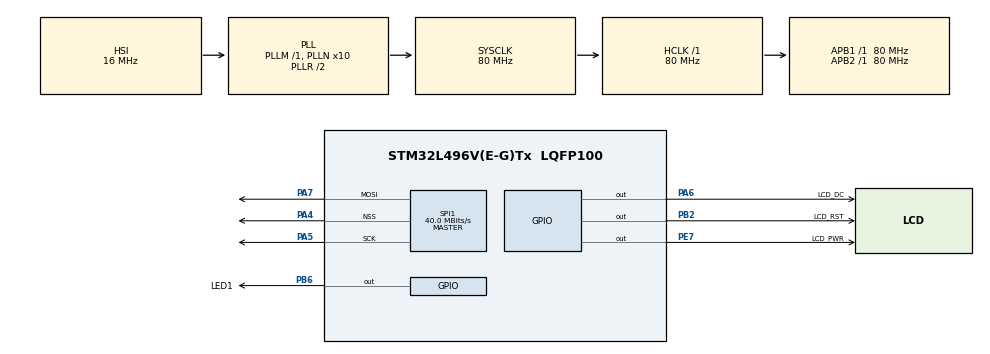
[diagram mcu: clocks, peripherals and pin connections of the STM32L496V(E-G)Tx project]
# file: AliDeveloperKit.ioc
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Dma.Request0=SPI1_TX
Dma.SPI1_TX.0.Direction=DMA_MEMORY_TO_PERIPH
Dma.SPI1_TX.0.Instance=DMA2_Channel4
Dma.SPI1_TX.0.MemDataAlignment=DMA_MDATAALIGN_BYTE
Dma.SPI1_TX.0.MemInc=DMA_MINC_ENABLE
Dma.SPI1_TX.0.Mode=DMA_NORMAL
Dma.SPI1_TX.0.PeriphDataAlignment=DMA_PDATAALIGN_BYTE
Dma.SPI1_TX.0.PeriphInc=DMA_PINC_DISABLE
Dma.SPI1_TX.0.Priority=DMA_PRIORITY_VERY_HIGH
FREERTOS.INCLUDE_eTaskGetState=1
FREERTOS.INCLUDE_uxTaskGetStackHighWaterMark=1
FREERTOS.INCLUDE_vTaskCleanUpResources=1
FREERTOS.INCLUDE_vTaskDelayUntil=1
FREERTOS.INCLUDE_xSemaphoreGetMutexHolder=1
FREERTOS.INCLUDE_xTaskAbortDelay=1
FREERTOS.INCLUDE_xTaskGetHandle=1
FREERTOS.Tasks01=defaultTask,0,200,StartDefaultTask,Default,NULL,Dynamic,NULL,NULL
FREERTOS.configCHECK_FOR_STACK_OVERFLOW=1
FREERTOS.configENABLE_FPU=1
FREERTOS.configGENERATE_RUN_TIME_STATS=1
FREERTOS.configTOTAL_HEAP_SIZE=10000
FREERTOS.configUSE_CO_ROUTINES=1
FREERTOS.configUSE_DAEMON_TASK_STARTUP_HOOK=0
FREERTOS.configUSE_MALLOC_FAILED_HOOK=1
FREERTOS.configUSE_NEWLIB_REENTRANT=1
FREERTOS.configUSE_STATS_FORMATTING_FUNCTIONS=1
FREERTOS.configUSE_TRACE_FACILITY=1
Mcu.Family=STM32L4
Mcu.Name=STM32L496V(E-G)Tx
Mcu.Package=LQFP100
NVIC.DMA2_Channel4_IRQn=true\:0\:0\:false\:false\:true\:false\:false\:true
NVIC.PriorityGroup=NVIC_PRIORITYGROUP_4
NVIC.TIM1_UP_TIM16_IRQn=true\:15\:0\:false\:false\:true\:false\:false\:true
NVIC.TimeBase=TIM1_UP_TIM16_IRQn
NVIC.TimeBaseIP=TIM1
PA13\ (JTMS/SWDIO).Mode=JTAG_4_pins
PA13\ (JTMS/SWDIO).Signal=SYS_JTMS-SWDIO
PA14\ (JTCK/SWCLK).Mode=JTAG_4_pins
PA14\ (JTCK/SWCLK).Signal=SYS_JTCK-SWCLK
PA15\ (JTDI).Mode=JTAG_4_pins
PA15\ (JTDI).Signal=SYS_JTDI
PA4.Mode=NSS_Signal_Hard_Output
PA4.Signal=SPI1_NSS
PA5.Mode=TX_Only_Simplex_Unidirect_Master
PA5.Signal=SPI1_SCK
PA6.GPIO_Label=LCD_DC
PA6.GPIO_Speed=GPIO_SPEED_FREQ_VERY_HIGH
PA6.PinState=GPIO_PIN_SET
PA6.Signal=GPIO_Output
PA7.Mode=TX_Only_Simplex_Unidirect_Master
PA7.Signal=SPI1_MOSI
PB2.GPIO_Label=LCD_RST
PB2.GPIO_Speed=GPIO_SPEED_FREQ_VERY_HIGH
PB2.PinState=GPIO_PIN_SET
PB2.Signal=GPIO_Output
PB3\ (JTDO/TRACESWO).Mode=JTAG_4_pins
PB3\ (JTDO/TRACESWO).Signal=SYS_JTDO-SWO
PB6.GPIO_Label=LED1
PB6.Signal=GPIO_Output
PE7.GPIO_Label=LCD_PWR
PE7.GPIO_Speed=GPIO_SPEED_FREQ_VERY_HIGH
PE7.Signal=GPIO_Output
ProjectManager.HeapSize=0x200
ProjectManager.StackSize=0x400
ProjectManager.TargetToolchain=Makefile
RCC.ADCFreq_Value=64000000
RCC.AHBFreq_Value=80000000
RCC.APB1Freq_Value=80000000
RCC.APB1TimFreq_Value=80000000
RCC.APB2Freq_Value=80000000
RCC.APB2TimFreq_Value=80000000
RCC.CortexFreq_Value=80000000
RCC.HCLKFreq_Value=80000000
RCC.HSE_VALUE=8000000
RCC.HSI48_VALUE=48000000
RCC.HSI_VALUE=16000000
RCC.LSE_VALUE=32768
RCC.MSI_VALUE=4000000
RCC.PLLN=10
RCC.PLLSourceVirtual=RCC_PLLSOURCE_HSI
RCC.SYSCLKFreq_VALUE=80000000
RCC.SYSCLKSource=RCC_SYSCLKSOURCE_PLLCLK
RCC.USBFreq_Value=64000000
RCC.VCOOutputFreq_Value=160000000
SPI1.BaudRatePrescaler=SPI_BAUDRATEPRESCALER_2
SPI1.CLKPolarity=SPI_POLARITY_LOW
SPI1.CRCCalculation=SPI_CRCCALCULATION_DISABLE
SPI1.CalculateBaudRate=40.0 MBits/s
SPI1.DataSize=SPI_DATASIZE_8BIT
SPI1.Direction=SPI_DIRECTION_2LINES
SPI1.Mode=SPI_MODE_MASTER
SPI1.VirtualNSS=VM_NSSHARD
SPI1.VirtualType=VM_MASTER
VP_CRC_VS_CRC.Mode=CRC_Activate
VP_FREERTOS_VS_CMSIS_V1.Mode=CMSIS_V1
VP_SYS_VS_tim1.Mode=TIM1
board=custom

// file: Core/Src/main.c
/* USER CODE BEGIN Header */
/**
  ******************************************************************************
  * @file           : main.c
  * @brief          : Main program body
  ******************************************************************************
  * @attention
  *
  * <h2><center>&copy; Copyright (c) 2021 STMicroelectronics.
  * All rights reserved.</center></h2>
  *
  * This software component is licensed by ST under Ultimate Liberty license
  * SLA0044, the "License"; You may not use this file except in compliance with
  * the License. You may obtain a copy of the License at:
  *                             www.st.com/SLA0044
  *
  ******************************************************************************
  */
/* USER CODE END Header */
#include "main.h"
#include "cmsis_os.h"

/* USER CODE BEGIN Includes */
#include "st7789.h"
#include "GUI.h"
#include "MENU.h"
#include "WindowsCB.h"
#include "PROGBAR.h"
/* USER CODE END Includes */

CRC_HandleTypeDef hcrc;

SPI_HandleTypeDef hspi1;
DMA_HandleTypeDef hdma_spi1_tx;

osThreadId defaultTaskHandle;
/* USER CODE BEGIN PV */
osThreadId OLEDTaskHandle;

/* USER CODE END PV */

void SystemClock_Config(void);
static void MX_GPIO_Init(void);
static void MX_SPI1_Init(void);
static void MX_DMA_Init(void);
static void MX_CRC_Init(void);
void StartDefaultTask(void const * argument);

/* USER CODE BEGIN PFP */
void OLEDDisplayTask(void const *argument);
/* USER CODE END PFP */

int main(void)
{

  /* MCU Configuration--------------------------------------------------------*/

  /* Reset of all peripherals, Initializes the Flash interface and the Systick. */
  HAL_Init();

  /* Configure the system clock */
  SystemClock_Config();

  /* Initialize all configured peripherals */
  MX_GPIO_Init();
  MX_SPI1_Init();
  MX_DMA_Init();
  MX_CRC_Init();
  /* USER CODE BEGIN 2 */
   __HAL_RCC_CRC_CLK_ENABLE();
  st7789_init();
  //BSP_LCD_Clear(GUI_WHITE);

  /* USER CODE END 2 */

  /* Create the thread(s) */
  /* definition and creation of defaultTask */
  osThreadDef(defaultTask, StartDefaultTask, osPriorityNormal, 0, 200);
  defaultTaskHandle = osThreadCreate(osThread(defaultTask), NULL);

  /* USER CODE BEGIN RTOS_THREADS */
  /* add threads, ... */
  osThreadDef(displayTask,OLEDDisplayTask,osPriorityAboveNormal,0,400);
  OLEDTaskHandle=osThreadCreate(osThread(displayTask),NULL);
  /* USER CODE END RTOS_THREADS */

  /* Start scheduler */
  osKernelStart();

  /* We should never get here as control is now taken by the scheduler */
  /* Infinite loop */
  while (1)
  {

  }
}

void SystemClock_Config(void)
{
  RCC_OscInitTypeDef RCC_OscInitStruct = {0};
  RCC_ClkInitTypeDef RCC_ClkInitStruct = {0};

  /** Configure the main internal regulator output voltage
  */
  if (HAL_PWREx_ControlVoltageScaling(PWR_REGULATOR_VOLTAGE_SCALE1) != HAL_OK)
  {
    Error_Handler();
  }
  /** Initializes the RCC Oscillators according to the specified parameters
  * in the RCC_OscInitTypeDef structure.
  */
  RCC_OscInitStruct.OscillatorType = RCC_OSCILLATORTYPE_HSI;
  RCC_OscInitStruct.HSIState = RCC_HSI_ON;
  RCC_OscInitStruct.HSICalibrationValue = RCC_HSICALIBRATION_DEFAULT;
  RCC_OscInitStruct.PLL.PLLState = RCC_PLL_ON;
  RCC_OscInitStruct.PLL.PLLSource = RCC_PLLSOURCE_HSI;
  RCC_OscInitStruct.PLL.PLLM = 1;
  RCC_OscInitStruct.PLL.PLLN = 10;
  RCC_OscInitStruct.PLL.PLLP = RCC_PLLP_DIV2;
  RCC_OscInitStruct.PLL.PLLQ = RCC_PLLQ_DIV2;
  RCC_OscInitStruct.PLL.PLLR = RCC_PLLR_DIV2;
  if (HAL_RCC_OscConfig(&RCC_OscInitStruct) != HAL_OK)
  {
    Error_Handler();
  }
  /** Initializes the CPU, AHB and APB buses clocks
  */
  RCC_ClkInitStruct.ClockType = RCC_CLOCKTYPE_HCLK|RCC_CLOCKTYPE_SYSCLK
                              |RCC_CLOCKTYPE_PCLK1|RCC_CLOCKTYPE_PCLK2;
  RCC_ClkInitStruct.SYSCLKSource = RCC_SYSCLKSOURCE_PLLCLK;
  RCC_ClkInitStruct.AHBCLKDivider = RCC_SYSCLK_DIV1;
  RCC_ClkInitStruct.APB1CLKDivider = RCC_HCLK_DIV1;
  RCC_ClkInitStruct.APB2CLKDivider = RCC_HCLK_DIV1;

  if (HAL_RCC_ClockConfig(&RCC_ClkInitStruct, FLASH_LATENCY_4) != HAL_OK)
  {
    Error_Handler();
  }
}

static void MX_CRC_Init(void)
{

  hcrc.Instance = CRC;
  hcrc.Init.DefaultPolynomialUse = DEFAULT_POLYNOMIAL_ENABLE;
  hcrc.Init.DefaultInitValueUse = DEFAULT_INIT_VALUE_ENABLE;
  hcrc.Init.InputDataInversionMode = CRC_INPUTDATA_INVERSION_NONE;
  hcrc.Init.OutputDataInversionMode = CRC_OUTPUTDATA_INVERSION_DISABLE;
  hcrc.InputDataFormat = CRC_INPUTDATA_FORMAT_BYTES;
  if (HAL_CRC_Init(&hcrc) != HAL_OK)
  {
    Error_Handler();
  }

}

static void MX_SPI1_Init(void)
{

  /* SPI1 parameter configuration*/
  hspi1.Instance = SPI1;
  hspi1.Init.Mode = SPI_MODE_MASTER;
  hspi1.Init.Direction = SPI_DIRECTION_2LINES;
  hspi1.Init.DataSize = SPI_DATASIZE_8BIT;
  hspi1.Init.CLKPolarity = SPI_POLARITY_LOW;
  hspi1.Init.CLKPhase = SPI_PHASE_1EDGE;
  hspi1.Init.NSS = SPI_NSS_HARD_OUTPUT;
  hspi1.Init.BaudRatePrescaler = SPI_BAUDRATEPRESCALER_2;
  hspi1.Init.FirstBit = SPI_FIRSTBIT_MSB;
  hspi1.Init.TIMode = SPI_TIMODE_DISABLE;
  hspi1.Init.CRCCalculation = SPI_CRCCALCULATION_DISABLE;
  hspi1.Init.CRCPolynomial = 7;
  hspi1.Init.CRCLength = SPI_CRC_LENGTH_DATASIZE;
  hspi1.Init.NSSPMode = SPI_NSS_PULSE_ENABLE;
  if (HAL_SPI_Init(&hspi1) != HAL_OK)
  {
    Error_Handler();
  }

}

static void MX_DMA_Init(void)
{

  /* DMA controller clock enable */
  __HAL_RCC_DMA2_CLK_ENABLE();

  /* DMA interrupt init */
  /* DMA2_Channel4_IRQn interrupt configuration */
  HAL_NVIC_SetPriority(DMA2_Channel4_IRQn, 0, 0);
  HAL_NVIC_EnableIRQ(DMA2_Channel4_IRQn);

}

static void MX_GPIO_Init(void)
{
  GPIO_InitTypeDef GPIO_InitStruct = {0};

  /* GPIO Ports Clock Enable */
  __HAL_RCC_GPIOE_CLK_ENABLE();
  __HAL_RCC_GPIOC_CLK_ENABLE();
  __HAL_RCC_GPIOH_CLK_ENABLE();
  __HAL_RCC_GPIOA_CLK_ENABLE();
  __HAL_RCC_GPIOB_CLK_ENABLE();
  __HAL_RCC_GPIOD_CLK_ENABLE();

  /*Configure GPIO pin Output Level */
  HAL_GPIO_WritePin(LCD_DC_GPIO_Port, LCD_DC_Pin, GPIO_PIN_SET);

  /*Configure GPIO pin Output Level */
  HAL_GPIO_WritePin(LCD_RST_GPIO_Port, LCD_RST_Pin, GPIO_PIN_SET);

  /*Configure GPIO pin Output Level */
  HAL_GPIO_WritePin(LCD_PWR_GPIO_Port, LCD_PWR_Pin, GPIO_PIN_RESET);

  /*Configure GPIO pin Output Level */
  HAL_GPIO_WritePin(LED1_GPIO_Port, LED1_Pin, GPIO_PIN_RESET);

  /*Configure GPIO pins : PE2 PE3 PE4 PE5
                           PE6 PE8 PE9 PE10
                           PE11 PE12 PE13 PE14
                           PE15 PE0 PE1 */
  GPIO_InitStruct.Pin = GPIO_PIN_2|GPIO_PIN_3|GPIO_PIN_4|GPIO_PIN_5
                          |GPIO_PIN_6|GPIO_PIN_8|GPIO_PIN_9|GPIO_PIN_10
                          |GPIO_PIN_11|GPIO_PIN_12|GPIO_PIN_13|GPIO_PIN_14
                          |GPIO_PIN_15|GPIO_PIN_0|GPIO_PIN_1;
  GPIO_InitStruct.Mode = GPIO_MODE_ANALOG;
  GPIO_InitStruct.Pull = GPIO_NOPULL;
  HAL_GPIO_Init(GPIOE, &GPIO_InitStruct);

  /*Configure GPIO pins : PC13 PC14 PC15 PC0
                           PC1 PC2 PC3 PC4
                           PC5 PC6 PC7 PC8
                           PC9 PC10 PC11 PC12 */
  GPIO_InitStruct.Pin = GPIO_PIN_13|GPIO_PIN_14|GPIO_PIN_15|GPIO_PIN_0
                          |GPIO_PIN_1|GPIO_PIN_2|GPIO_PIN_3|GPIO_PIN_4
                          |GPIO_PIN_5|GPIO_PIN_6|GPIO_PIN_7|GPIO_PIN_8
                          |GPIO_PIN_9|GPIO_PIN_10|GPIO_PIN_11|GPIO_PIN_12;
  GPIO_InitStruct.Mode = GPIO_MODE_ANALOG;
  GPIO_InitStruct.Pull = GPIO_NOPULL;
  HAL_GPIO_Init(GPIOC, &GPIO_InitStruct);

  /*Configure GPIO pins : PH0 PH1 PH3 */
  GPIO_InitStruct.Pin = GPIO_PIN_0|GPIO_PIN_1|GPIO_PIN_3;
  GPIO_InitStruct.Mode = GPIO_MODE_ANALOG;
  GPIO_InitStruct.Pull = GPIO_NOPULL;
  HAL_GPIO_Init(GPIOH, &GPIO_InitStruct);

  /*Configure GPIO pins : PA0 PA1 PA2 PA3
                           PA8 PA9 PA10 PA11
                           PA12 */
  GPIO_InitStruct.Pin = GPIO_PIN_0|GPIO_PIN_1|GPIO_PIN_2|GPIO_PIN_3
                          |GPIO_PIN_8|GPIO_PIN_9|GPIO_PIN_10|GPIO_PIN_11
                          |GPIO_PIN_12;
  GPIO_InitStruct.Mode = GPIO_MODE_ANALOG;
  GPIO_InitStruct.Pull = GPIO_NOPULL;
  HAL_GPIO_Init(GPIOA, &GPIO_InitStruct);

  /*Configure GPIO pin : LCD_DC_Pin */
  GPIO_InitStruct.Pin = LCD_DC_Pin;
  GPIO_InitStruct.Mode = GPIO_MODE_OUTPUT_PP;
  GPIO_InitStruct.Pull = GPIO_NOPULL;
  GPIO_InitStruct.Speed = GPIO_SPEED_FREQ_VERY_HIGH;
  HAL_GPIO_Init(LCD_DC_GPIO_Port, &GPIO_InitStruct);

  /*Configure GPIO pins : PB0 PB1 PB10 PB11
                           PB12 PB13 PB14 PB15
                           PB4 PB5 PB7 PB8
                           PB9 */
  GPIO_InitStruct.Pin = GPIO_PIN_0|GPIO_PIN_1|GPIO_PIN_10|GPIO_PIN_11
                          |GPIO_PIN_12|GPIO_PIN_13|GPIO_PIN_14|GPIO_PIN_15
                          |GPIO_PIN_4|GPIO_PIN_5|GPIO_PIN_7|GPIO_PIN_8
                          |GPIO_PIN_9;
  GPIO_InitStruct.Mode = GPIO_MODE_ANALOG;
  GPIO_InitStruct.Pull = GPIO_NOPULL;
  HAL_GPIO_Init(GPIOB, &GPIO_InitStruct);

  /*Configure GPIO pin : LCD_RST_Pin */
  GPIO_InitStruct.Pin = LCD_RST_Pin;
  GPIO_InitStruct.Mode = GPIO_MODE_OUTPUT_PP;
  GPIO_InitStruct.Pull = GPIO_NOPULL;
  GPIO_InitStruct.Speed = GPIO_SPEED_FREQ_VERY_HIGH;
  HAL_GPIO_Init(LCD_RST_GPIO_Port, &GPIO_InitStruct);

  /*Configure GPIO pin : LCD_PWR_Pin */
  GPIO_InitStruct.Pin = LCD_PWR_Pin;
  GPIO_InitStruct.Mode = GPIO_MODE_OUTPUT_PP;
  GPIO_InitStruct.Pull = GPIO_NOPULL;
  GPIO_InitStruct.Speed = GPIO_SPEED_FREQ_VERY_HIGH;
  HAL_GPIO_Init(LCD_PWR_GPIO_Port, &GPIO_InitStruct);

  /*Configure GPIO pins : PD8 PD9 PD10 PD11
                           PD12 PD13 PD14 PD15
                           PD0 PD1 PD2 PD3
                           PD4 PD5 PD6 PD7 */
  GPIO_InitStruct.Pin = GPIO_PIN_8|GPIO_PIN_9|GPIO_PIN_10|GPIO_PIN_11
                          |GPIO_PIN_12|GPIO_PIN_13|GPIO_PIN_14|GPIO_PIN_15
                          |GPIO_PIN_0|GPIO_PIN_1|GPIO_PIN_2|GPIO_PIN_3
                          |GPIO_PIN_4|GPIO_PIN_5|GPIO_PIN_6|GPIO_PIN_7;
  GPIO_InitStruct.Mode = GPIO_MODE_ANALOG;
  GPIO_InitStruct.Pull = GPIO_NOPULL;
  HAL_GPIO_Init(GPIOD, &GPIO_InitStruct);

  /*Configure GPIO pin : LED1_Pin */
  GPIO_InitStruct.Pin = LED1_Pin;
  GPIO_InitStruct.Mode = GPIO_MODE_OUTPUT_PP;
  GPIO_InitStruct.Pull = GPIO_NOPULL;
  GPIO_InitStruct.Speed = GPIO_SPEED_FREQ_LOW;
  HAL_GPIO_Init(LED1_GPIO_Port, &GPIO_InitStruct);

}

/* USER CODE BEGIN 4 */
void OLEDDisplayTask(void const * argument)
{

    int stack1,stack2;
    size_t heap;
    GUI_SetDefaultBkColor(GUI_CYAN);
    GUI_Init();
    PROGBAR_Handle stackTask1ProgHandle,stackTask2ProgHandle,HeapProgHandle;
    GUI_SetBkColor(GUI_CYAN);
    GUI_Clear();
    GUI_SetColor(GUI_BLACK);
    GUI_SetFont(GUI_FONT_COMIC24B_ASCII);
    GUI_DispStringAt("Stack",240/2-50,10);
    stackTask1ProgHandle=PROGBAR_Create(30,40,180,20,WM_CF_SHOW);
    stackTask2ProgHandle=PROGBAR_Create(30,70,180,20,WM_CF_SHOW);
    GUI_DispStringAt("Heap",240/2-40,100);
    HeapProgHandle=PROGBAR_Create(30,130,180,20,WM_CF_SHOW);
    PROGBAR_SetSkinClassic(HeapProgHandle); //属性设置应在赋值之后
    PROGBAR_SetBarColor(HeapProgHandle,0,GUI_RED);
    PROGBAR_SetText(stackTask1ProgHandle,"Task1 Available");
    PROGBAR_SetText(stackTask2ProgHandle,"Task2 Available");
    PROGBAR_SetText(HeapProgHandle,"Heap Occupied");
    PROGBAR_SetMinMax(stackTask1ProgHandle,1,200*4);
    PROGBAR_SetMinMax(stackTask2ProgHandle,1,400*4);
    PROGBAR_SetMinMax(HeapProgHandle,0,10000);

    GUI_DispStringAt("Version:1.0",120-60,200);
    GUI_SetFont(&GUI_Font6x8_ASCII);
    GUI_DispStringAt("by Cheny",180,230);
    WM_Exec();

  for(;;)
  {
    stack1=uxTaskGetStackHighWaterMark(defaultTaskHandle)*4; //返回栈剩余
    stack2=uxTaskGetStackHighWaterMark(NULL)*4;
    heap=xPortGetFreeHeapSize();
    PROGBAR_SetValue(stackTask1ProgHandle,stack1);
    PROGBAR_SetValue(stackTask2ProgHandle,stack2);
    PROGBAR_SetValue(HeapProgHandle,heap);

    GUI_Delay(100);

  }
}
/* USER CODE END 4 */

void StartDefaultTask(void const * argument)
{
  /* USER CODE BEGIN 5 */

  /* Infinite loop */
  for(;;)
  {

    HAL_GPIO_TogglePin(GPIOB,GPIO_PIN_6);
    osDelay(1000);
  }
  /* USER CODE END 5 */
}

void HAL_TIM_PeriodElapsedCallback(TIM_HandleTypeDef *htim)
{
  if (htim->Instance == TIM1) {
    HAL_IncTick();
  }
}

void Error_Handler(void)
{
  __disable_irq();
  while (1)
  {
  }
}

/************************ (C) COPYRIGHT STMicroelectronics *****END OF FILE****/

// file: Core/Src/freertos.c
/* USER CODE BEGIN Header */
/**
  ******************************************************************************
  * File Name          : freertos.c
  * Description        : Code for freertos applications
  ******************************************************************************
  * @attention
  *
  * <h2><center>&copy; Copyright (c) 2021 STMicroelectronics.
  * All rights reserved.</center></h2>
  *
  * This software component is licensed by ST under Ultimate Liberty license
  * SLA0044, the "License"; You may not use this file except in compliance with
  * the License. You may obtain a copy of the License at:
  *                             www.st.com/SLA0044
  *
  ******************************************************************************
  */
/* USER CODE END Header */

#include "FreeRTOS.h"
#include "task.h"
#include "main.h"

/* GetIdleTaskMemory prototype (linked to static allocation support) */
void vApplicationGetIdleTaskMemory( StaticTask_t **ppxIdleTaskTCBBuffer, StackType_t **ppxIdleTaskStackBuffer, uint32_t *pulIdleTaskStackSize );

/* Hook prototypes */
void configureTimerForRunTimeStats(void);
unsigned long getRunTimeCounterValue(void);
void vApplicationStackOverflowHook(xTaskHandle xTask, signed char *pcTaskName);
void vApplicationMallocFailedHook(void);

/* USER CODE BEGIN 1 */
/* Functions needed when configGENERATE_RUN_TIME_STATS is on */
__weak void configureTimerForRunTimeStats(void)
{

}

__weak unsigned long getRunTimeCounterValue(void)
{
return 0;
}
/* USER CODE END 1 */

/* USER CODE BEGIN 4 */
void vApplicationStackOverflowHook(xTaskHandle xTask, signed char *pcTaskName)
{
   /* Run time stack overflow checking is performed if
   configCHECK_FOR_STACK_OVERFLOW is defined to 1 or 2. This hook function is
   called if a stack overflow is detected. */
}
/* USER CODE END 4 */

/* USER CODE BEGIN 5 */
void vApplicationMallocFailedHook(void)
{
   /* vApplicationMallocFailedHook() will only be called if
   configUSE_MALLOC_FAILED_HOOK is set to 1 in FreeRTOSConfig.h. It is a hook
   function that will get called if a call to pvPortMalloc() fails.
   pvPortMalloc() is called internally by the kernel whenever a task, queue,
   timer or semaphore is created. It is also called by various parts of the
   demo application. If heap_1.c or heap_2.c are used, then the size of the
   heap available to pvPortMalloc() is defined by configTOTAL_HEAP_SIZE in
   FreeRTOSConfig.h, and the xPortGetFreeHeapSize() API function can be used
   to query the size of free heap space that remains (although it does not
   provide information on how the remaining heap might be fragmented). */
}
/* USER CODE END 5 */

/* USER CODE BEGIN GET_IDLE_TASK_MEMORY */
static StaticTask_t xIdleTaskTCBBuffer;
static StackType_t xIdleStack[configMINIMAL_STACK_SIZE];

void vApplicationGetIdleTaskMemory( StaticTask_t **ppxIdleTaskTCBBuffer, StackType_t **ppxIdleTaskStackBuffer, uint32_t *pulIdleTaskStackSize )
{
  *ppxIdleTaskTCBBuffer = &xIdleTaskTCBBuffer;
  *ppxIdleTaskStackBuffer = &xIdleStack[0];
  *pulIdleTaskStackSize = configMINIMAL_STACK_SIZE;
  /* place for user code */
}
/* USER CODE END GET_IDLE_TASK_MEMORY */

/************************ (C) COPYRIGHT STMicroelectronics *****END OF FILE****/
